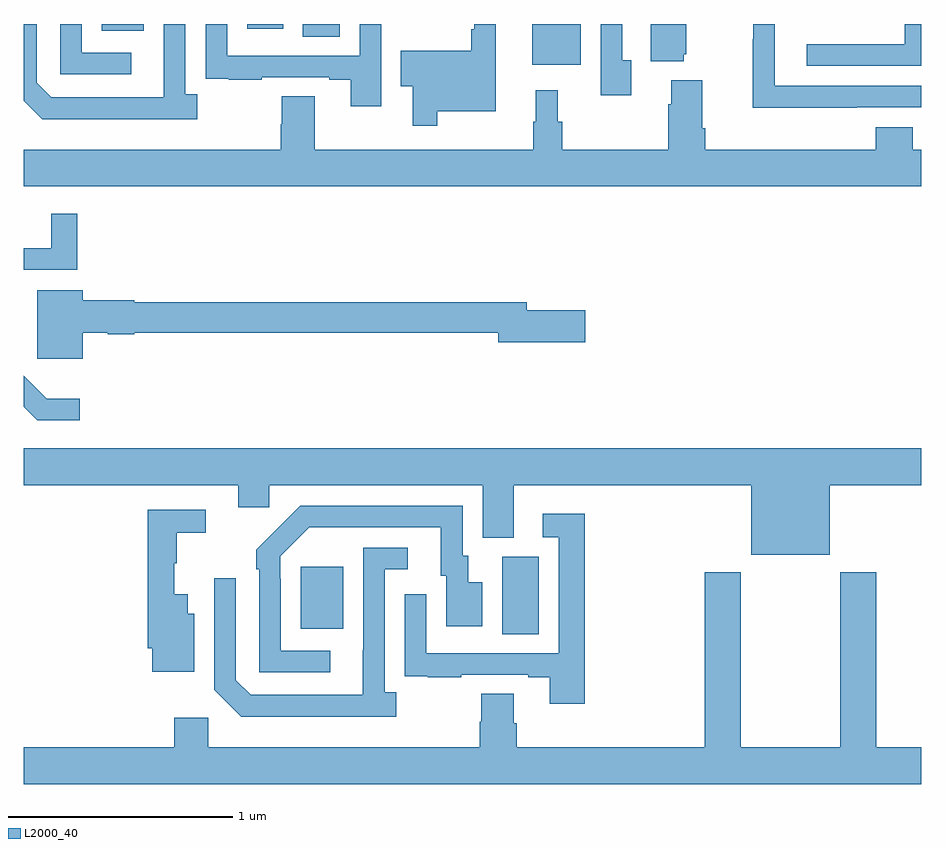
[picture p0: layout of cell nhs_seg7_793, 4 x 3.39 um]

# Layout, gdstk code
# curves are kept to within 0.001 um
import gdstk
lib = gdstk.Library(unit=1e-6, precision=1e-09)
def R(c, l, rs):  # rectangles x0, y0, x1, y1
    for r in rs: c.add(gdstk.rectangle(r[:2], r[2:], *l))
def P(c, l, *ps):  # polygons
    for p in ps: c.add(gdstk.Polygon(p, *l))
L2000_40 = (2000, 40)

nhs_seg7_793 = lib.new_cell('nhs_seg7_793')
R(nhs_seg7_793, L2000_40, [(173.132,1005.28,173.296,1005.624), (172.235,1005.305,172.423,1005.58), (173.267,1007.819,173.482,1008), (172.244,1007.944,172.408,1008), (171.347,1007.969,171.535,1008), (171.995,1007.979,172.156,1008)])
P(nhs_seg7_793, L2000_40, [(174.713,1007.628),(175,1007.628),(175,1007.724),(174.348,1007.724),(174.348,1008),(174.252,1008),(174.252,1007.933),(174.25,1007.933),(174.25,1007.627),(174.713,1007.627)],
  [(175,1008),(174.927,1008),(174.927,1007.91),(174.489,1007.91),(174.489,1007.814),(175,1007.814)],
  [(173.707,1007.838),(173.667,1007.838),(173.667,1008),(173.571,1008),(173.571,1007.682),(173.707,1007.682)],
  [(171.772,1007.686),(171.72,1007.686),(171.72,1008),(171.624,1008),(171.623,1007.673),(171.123,1007.673),(171.057,1007.739),(171.057,1008),(171,1008),(171,1007.658),(171.082,1007.576),(171.772,1007.576)],
  [(172.843,1007.612),(173.104,1007.612),(173.104,1008),(173.007,1008),(173.007,1007.977),(172.995,1007.977),(172.995,1007.881),(172.68,1007.881),(172.68,1007.723),(172.733,1007.723),(172.733,1007.547),(172.843,1007.547)],
  [(171.478,1007.871),(171.258,1007.871),(171.258,1008),(171.162,1008),(171.162,1007.775),(171.478,1007.775)],
  [(173.942,1007.865),(173.953,1007.865),(173.953,1008),(173.795,1008),(173.795,1007.834),(173.942,1007.834)],
  [(172.593,1008),(172.497,1008),(172.497,1007.859),(171.906,1007.859),(171.906,1008),(171.81,1008),(171.81,1007.866),(171.811,1007.866),(171.811,1007.757),(171.913,1007.757),(171.913,1007.751),(172.061,1007.751),(172.061,1007.763),(172.361,1007.763),(172.361,1007.751),(172.457,1007.751),(172.457,1007.634),(172.593,1007.634)],
  [(175,1007.44),(174.962,1007.44),(174.962,1007.539),(174.797,1007.539),(174.797,1007.44),(174.038,1007.44),(174.038,1007.536),(174.025,1007.536),(174.025,1007.749),(173.885,1007.749),(173.885,1007.642),(173.873,1007.642),(173.873,1007.44),(173.399,1007.44),(173.399,1007.564),(173.381,1007.564),(173.381,1007.704),(173.282,1007.704),(173.282,1007.564),(173.271,1007.564),(173.271,1007.44),(172.297,1007.44),(172.297,1007.678),(172.15,1007.678),(172.15,1007.553),(172.145,1007.553),(172.145,1007.44),(171,1007.44),(171,1007.276),(175,1007.276)],
  [(171.239,1007.155),(171.122,1007.155),(171.122,1007.001),(171,1007.001),(171,1006.905),(171.239,1006.905)],
  [(171.262,1006.624),(171.375,1006.624),(171.375,1006.616),(171.492,1006.616),(171.492,1006.624),(173.114,1006.624),(173.114,1006.582),(173.503,1006.582),(173.503,1006.724),(173.242,1006.724),(173.242,1006.76),(171.492,1006.76),(171.492,1006.768),(171.262,1006.768),(171.262,1006.813),(171.059,1006.813),(171.059,1006.508),(171.262,1006.508)],
  [(171.25,1006.33),(171.101,1006.33),(171,1006.431),(171,1006.293),(171.06,1006.233),(171.25,1006.233)],
  [(174.592,1005.944),(175,1005.944),(175,1006.108),(171,1006.108),(171,1005.944),(171.956,1005.944),(171.956,1005.846),(172.095,1005.846),(172.095,1005.944),(173.045,1005.944),(173.045,1005.709),(173.185,1005.709),(173.185,1005.944),(174.242,1005.944),(174.242,1005.635),(174.592,1005.635)],
  [(172.366,1005.207),(172.146,1005.207),(172.146,1005.527),(172.143,1005.527),(172.143,1005.627),(172.272,1005.756),(172.859,1005.756),(172.859,1005.54),(172.883,1005.54),(172.883,1005.315),(173.044,1005.315),(173.044,1005.511),(172.981,1005.511),(172.981,1005.63),(172.956,1005.63),(172.956,1005.852),(172.232,1005.852),(172.035,1005.657),(172.035,1005.569),(172.05,1005.569),(172.05,1005.111),(172.366,1005.111)],
  [(171.76,1005.37),(171.73,1005.37),(171.73,1005.457),(171.671,1005.457),(171.671,1005.597),(171.682,1005.597),(171.682,1005.733),(171.811,1005.733),(171.811,1005.834),(171.553,1005.834),(171.553,1005.217),(171.572,1005.217),(171.572,1005.113),(171.76,1005.113)],
  [(173.501,1005.817),(173.313,1005.817),(173.313,1005.711),(173.385,1005.711),(173.385,1005.195),(172.794,1005.195),(172.794,1005.457),(172.698,1005.457),(172.698,1005.202),(172.699,1005.202),(172.699,1005.093),(172.801,1005.093),(172.801,1005.087),(172.949,1005.087),(172.949,1005.099),(173.249,1005.099),(173.249,1005.087),(173.345,1005.087),(173.345,1004.97),(173.501,1004.97)],
  [(172.66,1005.022),(172.608,1005.022),(172.608,1005.57),(172.711,1005.57),(172.711,1005.666),(172.512,1005.666),(172.511,1005.009),(172.011,1005.009),(171.945,1005.075),(171.945,1005.529),(171.849,1005.529),(171.849,1005.033),(171.97,1004.912),(172.66,1004.912)],
  [(175,1004.776),(174.8,1004.776),(174.8,1005.556),(174.64,1005.556),(174.64,1004.776),(174.195,1004.776),(174.195,1005.556),(174.035,1005.556),(174.035,1004.776),(173.198,1004.776),(173.198,1004.882),(173.185,1004.882),(173.185,1005.014),(173.038,1005.014),(173.038,1004.889),(173.033,1004.889),(173.033,1004.776),(171.822,1004.776),(171.822,1004.908),(171.671,1004.908),(171.671,1004.776),(171,1004.776),(171,1004.612),(175,1004.612)])

lib.write_gds('nhs_seg7_793.gds')
